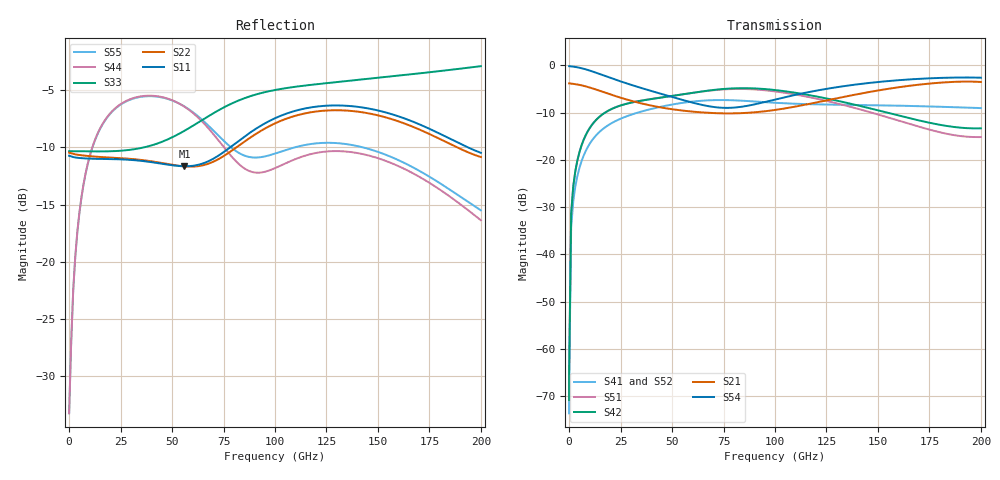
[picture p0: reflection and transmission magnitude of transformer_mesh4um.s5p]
! Created with skrf 2.1.0 (http://scikit-rf.org).
# GHz S DB R 50.0
! Port[1] = P1
! Port[2] = P2
! Port[3] = P3
! Port[4] = P4
! Port[5] = P5
!freq dBS11 angS11 dBS12 angS12 dBS13 angS13
! dBS14 angS14 dBS15 angS15
! dBS21 angS21 dBS22 angS22 dBS23 angS23
! dBS24 angS24 dBS25 angS25
! dBS31 angS31 dBS32 angS32 dBS33 angS33
! dBS34 angS34 dBS35 angS35
! dBS41 angS41 dBS42 angS42 dBS43 angS43
! dBS44 angS44 dBS45 angS45
! dBS51 angS51 dBS52 angS52 dBS53 angS53
! dBS54 angS54 dBS55 angS55
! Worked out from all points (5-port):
!   202 points, 10 MHz to 200 GHz, reference 50 ohm
!   strongest paths, dB at 10 MHz, 49 GHz, 100 GHz, 150 GHz, 200 GHz:
!     S54: -0.2, -6.6, -7.3, -3.5, -2.6
!     S21: -3.8, -9.2, -9.5, -5.3, -3.5
!     S42: -70.8, -6.6, -5.2, -9.5, -13.3
!     S51: -70.8, -6.5, -5.5, -10.4, -15.2
!     S41: -73.6, -8.4, -7.9, -8.5, -9.1
!     S52: -73.6, -8.4, -8.0, -8.6, -9.3
!   lowest |S11| = -11.6 dB at 56 GHz (marker M1), VSWR 1.71, Z = 70.4 + j24.9 ohm
!   |S11| at or under -10 dB: start of sweep to 78.17 GHz; 193.8 GHz to end of sweep
